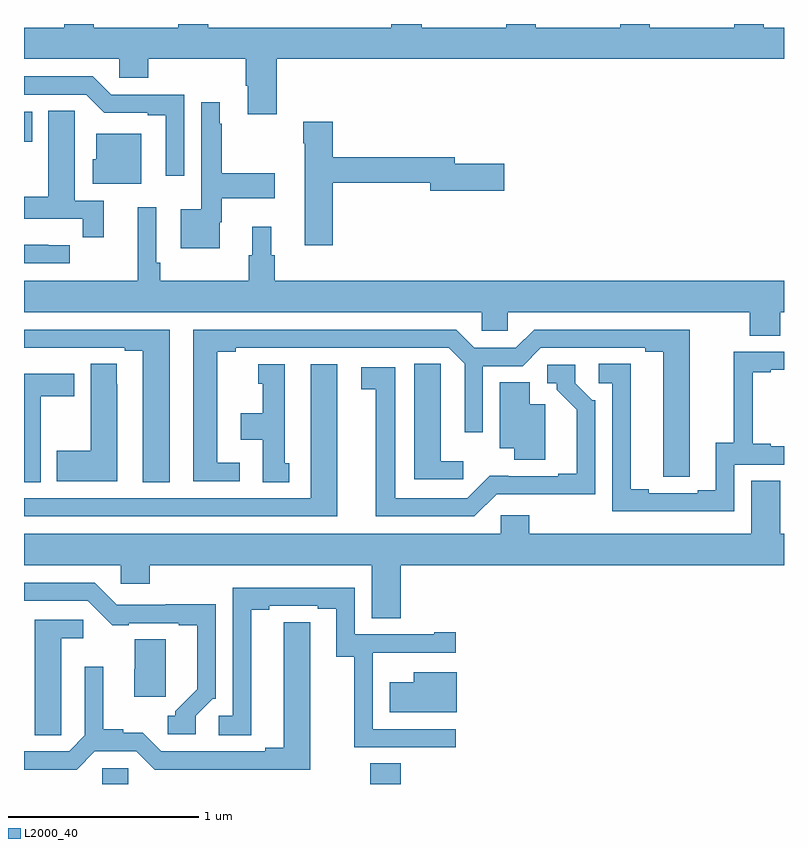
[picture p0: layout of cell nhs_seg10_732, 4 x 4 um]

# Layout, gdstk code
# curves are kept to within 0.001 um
import gdstk
lib = gdstk.Library(unit=1e-6, precision=1e-09)
def R(c, l, rs):  # rectangles x0, y0, x1, y1
    for r in rs: c.add(gdstk.rectangle(r[:2], r[2:], *l))
def P(c, l, *ps):  # polygons
    for p in ps: c.add(gdstk.Polygon(p, *l))
L2000_40 = (2000, 40)

nhs_seg10_732 = lib.new_cell('nhs_seg10_732')
R(nhs_seg10_732, L2000_40, [(147.411,1296.5,147.549,1296.582), (148.822,1296.5,148.982,1296.608), (147,1299.88,147.043,1300.039)])
P(nhs_seg10_732, L2000_40, [(148.331,1300.316),(151,1300.316),(151,1300.48),(150.894,1300.48),(150.894,1300.5),(150.739,1300.5),(150.739,1300.48),(150.294,1300.48),(150.294,1300.5),(150.139,1300.5),(150.139,1300.48),(149.694,1300.48),(149.694,1300.5),(149.539,1300.5),(149.539,1300.48),(149.094,1300.48),(149.094,1300.5),(148.934,1300.5),(148.934,1300.48),(147.971,1300.48),(147.971,1300.5),(147.811,1300.5),(147.811,1300.48),(147.366,1300.48),(147.366,1300.5),(147.211,1300.5),(147.211,1300.48),(147,1300.48),(147,1300.316),(147.501,1300.316),(147.501,1300.218),(147.653,1300.218),(147.653,1300.316),(148.166,1300.316),(148.166,1300.174),(148.178,1300.174),(148.178,1300.026),(148.331,1300.026)],
  [(147.843,1300.128),(147.459,1300.128),(147.363,1300.224),(147,1300.224),(147,1300.128),(147.327,1300.128),(147.423,1300.032),(147.65,1300.032),(147.65,1300.02),(147.746,1300.02),(147.746,1299.702),(147.843,1299.702)],
  [(148.03,1299.456),(148.042,1299.456),(148.042,1299.584),(148.321,1299.584),(148.321,1299.714),(148.042,1299.714),(148.042,1299.974),(148.03,1299.974),(148.03,1300.087),(147.933,1300.087),(147.933,1299.526),(147.824,1299.526),(147.824,1299.32),(148.03,1299.32)],
  [(147.419,1299.57),(147.268,1299.57),(147.268,1299.932),(147.267,1299.932),(147.267,1300.043),(147.128,1300.043),(147.128,1299.591),(147,1299.591),(147,1299.474),(147.31,1299.474),(147.31,1299.378),(147.419,1299.378)],
  [(148.625,1299.664),(149.138,1299.664),(149.138,1299.622),(149.527,1299.622),(149.527,1299.764),(149.266,1299.764),(149.266,1299.8),(148.625,1299.8),(148.625,1299.985),(148.471,1299.985),(148.471,1299.872),(148.478,1299.872),(148.478,1299.336),(148.625,1299.336)],
  [(147.616,1299.922),(147.38,1299.922),(147.38,1299.789),(147.362,1299.789),(147.362,1299.659),(147.616,1299.659)],
  [(150.98,1298.984),(151,1298.984),(151,1299.148),(148.319,1299.148),(148.319,1299.282),(148.3,1299.282),(148.3,1299.433),(148.202,1299.433),(148.202,1299.282),(148.183,1299.282),(148.183,1299.148),(147.716,1299.148),(147.716,1299.244),(147.696,1299.244),(147.696,1299.535),(147.599,1299.535),(147.599,1299.148),(147,1299.148),(147,1298.984),(149.409,1298.984),(149.409,1298.886),(149.547,1298.886),(149.547,1298.984),(150.82,1298.984),(150.82,1298.86),(150.98,1298.86)],
  [(147.241,1299.336),(147.128,1299.336),(147.128,1299.337),(147,1299.337),(147,1299.24),(147.241,1299.24)],
  [(148.135,1298.19),(148.018,1298.19),(148.018,1298.776),(148.114,1298.776),(148.114,1298.796),(149.235,1298.796),(149.319,1298.712),(149.319,1298.352),(149.415,1298.352),(149.415,1298.7),(149.625,1298.7),(149.721,1298.796),(150.269,1298.796),(150.269,1298.776),(150.365,1298.776),(150.365,1298.116),(150.504,1298.116),(150.505,1298.892),(149.685,1298.892),(149.589,1298.796),(149.371,1298.796),(149.275,1298.892),(147.89,1298.892),(147.89,1298.094),(148.135,1298.094)],
  [(147.766,1298.892),(147,1298.892),(147,1298.796),(147.088,1298.796),(147.088,1298.795),(147.254,1298.795),(147.254,1298.796),(147.53,1298.796),(147.53,1298.781),(147.626,1298.781),(147.626,1298.089),(147.766,1298.089)],
  [(150.738,1298.181),(151,1298.181),(151,1298.277),(150.931,1298.277),(150.931,1298.29),(150.836,1298.29),(150.836,1298.667),(150.931,1298.667),(150.931,1298.679),(151,1298.679),(151,1298.775),(150.736,1298.775),(150.736,1298.297),(150.641,1298.297),(150.641,1298.046),(150.545,1298.046),(150.545,1298.031),(150.289,1298.031),(150.289,1298.051),(150.193,1298.051),(150.193,1298.711),(150.024,1298.711),(150.024,1298.61),(150.096,1298.61),(150.096,1297.935),(150.738,1297.935)],
  [(149.311,1298.2),(149.194,1298.2),(149.194,1298.603),(149.193,1298.603),(149.193,1298.711),(149.054,1298.711),(149.054,1298.103),(149.311,1298.103)],
  [(147.49,1298.603),(147.489,1298.603),(147.489,1298.711),(147.35,1298.711),(147.35,1298.253),(147.173,1298.253),(147.173,1298.093),(147.49,1298.093)],
  [(148.648,1298.71),(148.508,1298.71),(148.508,1298.004),(147,1298.004),(147,1297.908),(148.648,1297.908)],
  [(148.396,1298.187),(148.372,1298.187),(148.372,1298.71),(148.232,1298.71),(148.232,1298.607),(148.256,1298.607),(148.256,1298.452),(148.142,1298.452),(148.142,1298.312),(148.256,1298.312),(148.256,1298.089),(148.396,1298.089)],
  [(149.487,1298.025),(150.006,1298.024),(150.006,1298.52),(149.991,1298.52),(149.901,1298.61),(149.901,1298.706),(149.754,1298.706),(149.754,1298.61),(149.804,1298.61),(149.804,1298.575),(149.909,1298.47),(149.909,1298.134),(149.813,1298.134),(149.813,1298.121),(149.452,1298.122),(149.334,1298.004),(148.954,1298.004),(148.954,1298.694),(148.776,1298.694),(148.776,1298.578),(148.85,1298.578),(148.85,1297.908),(149.37,1297.908)],
  [(147.088,1298.542),(147.265,1298.542),(147.265,1298.658),(147,1298.658),(147,1298.089),(147.088,1298.089)],
  [(149.743,1298.5),(149.662,1298.5),(149.662,1298.615),(149.504,1298.615),(149.504,1298.267),(149.579,1298.267),(149.579,1298.206),(149.743,1298.206)],
  [(148.982,1297.652),(151,1297.652),(151,1297.816),(150.98,1297.816),(150.98,1298.096),(150.827,1298.096),(150.827,1297.816),(149.66,1297.816),(149.66,1297.914),(149.508,1297.914),(149.508,1297.816),(147,1297.816),(147,1297.652),(147.51,1297.652),(147.51,1297.554),(147.662,1297.554),(147.662,1297.652),(148.829,1297.652),(148.829,1297.372),(148.982,1297.372)],
  [(147.903,1296.858),(147.993,1296.948),(148.008,1296.948),(148.008,1297.445),(147.745,1297.445),(147.745,1297.443),(147.489,1297.443),(147.372,1297.56),(147,1297.56),(147,1297.464),(147.336,1297.464),(147.464,1297.336),(147.55,1297.336),(147.55,1297.347),(147.815,1297.347),(147.815,1297.335),(147.911,1297.335),(147.911,1296.998),(147.795,1296.882),(147.795,1296.858),(147.756,1296.858),(147.756,1296.762),(147.903,1296.762)],
  [(149.272,1296.789),(148.836,1296.789),(148.836,1297.19),(148.838,1297.19),(148.838,1297.191),(149.272,1297.191),(149.272,1297.3),(149.159,1297.3),(149.159,1297.287),(148.74,1297.287),(148.74,1297.533),(148.098,1297.533),(148.098,1296.858),(148.026,1296.858),(148.026,1296.757),(148.195,1296.757),(148.195,1297.417),(148.291,1297.417),(148.291,1297.437),(148.547,1297.437),(148.547,1297.422),(148.643,1297.422),(148.643,1297.171),(148.738,1297.171),(148.738,1296.693),(149.272,1296.693)],
  [(147.195,1296.865),(147.196,1296.865),(147.196,1297.268),(147.313,1297.268),(147.313,1297.365),(147.056,1297.365),(147.056,1296.757),(147.195,1296.757)],
  [(147.373,1296.672),(147.591,1296.672),(147.687,1296.576),(148.507,1296.576),(148.506,1297.352),(148.367,1297.352),(148.367,1296.692),(148.271,1296.692),(148.271,1296.672),(147.723,1296.672),(147.626,1296.77),(147.522,1296.77),(147.522,1296.788),(147.418,1296.788),(147.418,1297.117),(147.321,1297.117),(147.321,1296.756),(147.237,1296.672),(147,1296.672),(147,1296.576),(147.277,1296.576)],
  [(147.745,1297.262),(147.583,1297.262),(147.583,1297.104),(147.581,1297.104),(147.581,1296.96),(147.745,1296.96)],
  [(149.278,1297.087),(149.051,1297.087),(149.051,1297.036),(148.926,1297.036),(148.926,1296.878),(149.278,1296.878)])

lib.write_gds('nhs_seg10_732.gds')
